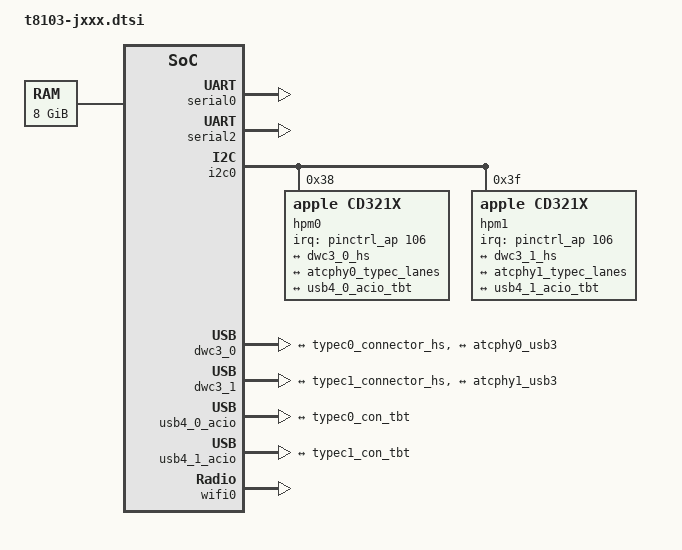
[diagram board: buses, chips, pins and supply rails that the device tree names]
// SPDX-License-Identifier: GPL-2.0+ OR MIT
/*
 * Apple M1 Mac mini, MacBook Air/Pro, iMac 24" (M1, 2020/2021)
 *
 * This file contains parts common to all Apple M1 devices using the t8103.
 *
 * target-type: J274, J293, J313, J456, J457
 *
 * Copyright The Asahi Linux Contributors
 */

/ {
	aliases {
		bluetooth0 = &bluetooth0;
		dcp = &dcp;
		disp0 = &display;
		disp0_piodma = &disp0_piodma;
		disp0-piodma = &disp0_piodma;
		serial0 = &serial0;
		serial2 = &serial2;
		wifi0 = &wifi0;
		atcphy0 = &atcphy0;
		atcphy1 = &atcphy1;
		usb4-0-acio = &usb4_0_acio;
		usb4-0-nhi = &usb4_0_nhi;
		usb4-1-acio = &usb4_1_acio;
		usb4-1-nhi = &usb4_1_nhi;

		usb4_0_rc = &usb4_0_acio;
		usb4_0_nhi = &usb4_0_nhi;
		usb4_1_rc = &usb4_1_acio;
		usb4_1_nhi = &usb4_1_nhi;
	};

	chosen {
		#address-cells = <2>;
		#size-cells = <2>;
		ranges;

		stdout-path = "serial0";

		framebuffer0: framebuffer@0 {
			compatible = "apple,simple-framebuffer", "simple-framebuffer";
			reg = <0 0 0 0>; /* To be filled by loader */
			power-domains = <&ps_disp0_cpu0>;
			/* Format properties will be added by loader */
			status = "disabled";
		};
	};

	reserved-memory {
		#address-cells = <2>;
		#size-cells = <2>;
		ranges;
		/* To be filled by loader */
	};

	memory@800000000 {
		device_type = "memory";
		reg = <0x8 0 0x2 0>; /* To be filled by loader */
	};
};

&serial0 {
	status = "okay";
};

&serial2 {
	status = "okay";
};

&i2c0 {
	hpm0: usb-pd@38 {
		compatible = "apple,cd321x";
		reg = <0x38>;
		interrupt-parent = <&pinctrl_ap>;
		interrupts = <106 IRQ_TYPE_LEVEL_LOW>;
		interrupt-names = "irq";

		typec0: connector {
			compatible = "usb-c-connector";
			power-role = "dual";
			data-role = "dual";

			ports {
				#address-cells = <1>;
				#size-cells = <0>;
				port@0 {
					reg = <0>;
					typec0_connector_hs: endpoint {
						remote-endpoint = <&dwc3_0_hs>;
					};
				};
				port@1 {
					reg = <1>;
					typec0_connector_ss: endpoint {
						remote-endpoint = <&atcphy0_typec_lanes>;
					};
				};

				port@2 {
					reg = <2>;
					typec0_con_tbt: endpoint {
						remote-endpoint = <&usb4_0_acio_tbt>;
					};
				};
			};
		};
	};

	hpm1: usb-pd@3f {
		compatible = "apple,cd321x";
		reg = <0x3f>;
		interrupt-parent = <&pinctrl_ap>;
		interrupts = <106 IRQ_TYPE_LEVEL_LOW>;
		interrupt-names = "irq";

		typec1: connector {
			compatible = "usb-c-connector";
			power-role = "dual";
			data-role = "dual";

			ports {
				#address-cells = <1>;
				#size-cells = <0>;
				port@0 {
					reg = <0>;
					typec1_connector_hs: endpoint {
						remote-endpoint = <&dwc3_1_hs>;
					};
				};
				port@1 {
					reg = <1>;
					typec1_connector_ss: endpoint {
						remote-endpoint = <&atcphy1_typec_lanes>;
					};
				};

				port@2 {
					reg = <2>;
					typec1_con_tbt: endpoint {
						remote-endpoint = <&usb4_1_acio_tbt>;
					};
				};
			};
		};
	};
};

/* USB controllers */
&dwc3_0 {
	ports {
		#address-cells = <1>;
		#size-cells = <0>;

		port@0 {
			reg = <0>;
			dwc3_0_hs: endpoint {
				remote-endpoint = <&typec0_connector_hs>;
			};
		};

		port@1 {
			reg = <1>;
			dwc3_0_ss: endpoint {
				remote-endpoint = <&atcphy0_usb3>;
			};
		};
	};
};

&dwc3_1 {
	ports {
		#address-cells = <1>;
		#size-cells = <0>;

		port@0 {
			reg = <0>;
			dwc3_1_hs: endpoint {
				remote-endpoint = <&typec1_connector_hs>;
			};
		};

		port@1 {
			reg = <1>;
			dwc3_1_ss: endpoint {
				remote-endpoint = <&atcphy1_usb3>;
			};
		};
	};
};

/* Type-C PHYs */
&atcphy0 {
	ports {
		#address-cells = <1>;
		#size-cells = <0>;

		port@0 {
			reg = <0>;
			atcphy0_typec_lanes: endpoint {
				remote-endpoint = <&typec0_connector_ss>;
			};
		};

		port@1 {
			reg = <1>;
			atcphy0_usb3: endpoint {
				remote-endpoint = <&dwc3_0_ss>;
			};
		};
	};
};

&atcphy1 {
	ports {
		#address-cells = <1>;
		#size-cells = <0>;

		port@0 {
			reg = <0>;
			atcphy1_typec_lanes: endpoint {
				remote-endpoint = <&typec1_connector_ss>;
			};
		};

		port@1 {
			reg = <1>;
			atcphy1_usb3: endpoint {
				remote-endpoint = <&dwc3_1_ss>;
			};
		};
	};
};

/* USB4 */
&usb4_0_acio {
	ports {
		#address-cells = <1>;
		#size-cells = <0>;

		/* 1: USB4 port */
		port@1 {
			reg = <1>;
			usb4_0_acio_tbt: endpoint {
				remote-endpoint = <&typec0_con_tbt>;
			};
		};

		/* 2: unused(?) USB4 port */
		/* 3: PCIe */
		/* 4: USB3 */
		/* 5: DP0 */
		/* 6: DP1 */
	};
};

&usb4_1_acio {
	ports {
		#address-cells = <1>;
		#size-cells = <0>;

		/* 1: USB4 port */
		port@1 {
			reg = <1>;
			usb4_1_acio_tbt: endpoint {
				remote-endpoint = <&typec1_con_tbt>;
			};
		};

		/* 2: unused(?) USB4 port */
		/* 3: PCIe */
		/* 4: USB3 */
		/* 5: DP0 */
		/* 6: DP1 */
	};
};

/*
 * Force the bus number assignments so that we can declare some of the
 * on-board devices and properties that are populated by the bootloader
 * (such as MAC addresses).
 */
&port00 {
	bus-range = <1 1>;
	pwren-gpios = <&smc_gpio 13 GPIO_ACTIVE_HIGH>;
	wifi0: wifi@0,0 {
		compatible = "pci14e4,4425";
		reg = <0x10000 0x0 0x0 0x0 0x0>;
		/* To be filled by the loader */
		local-mac-address = [00 00 00 00 00 00];
		apple,antenna-sku = "XX";
	};

	bluetooth0: bluetooth@0,1 {
		compatible = "pci14e4,5f69";
		reg = <0x10100 0x0 0x0 0x0 0x0>;
		/* To be filled by the loader */
		local-bd-address = [00 00 00 00 00 00];
	};
};

&nco_clkref {
	clock-frequency = <900000000>;
};

&pmgr {
	ps_ane_base: power-controller@c008 {
		compatible = "apple,t8103-pmgr-pwrstate", "apple,pmgr-pwrstate";
		reg = <0xc008 4>;
		#power-domain-cells = <0>;
		#reset-cells = <0>;
		label = "ane_base";
		power-domains = <&ps_ane_sys_cpu>;
	};

	ps_ane_set1: power-controller@c010 {
		compatible = "apple,t8103-pmgr-pwrstate", "apple,pmgr-pwrstate";
		reg = <0xc010 4>;
		#power-domain-cells = <0>;
		#reset-cells = <0>;
		label = "ane_set1";
		power-domains = <&ps_ane_base>;
	};

	ps_ane_set2: power-controller@c018 {
		compatible = "apple,t8103-pmgr-pwrstate", "apple,pmgr-pwrstate";
		reg = <0xc018 4>;
		#power-domain-cells = <0>;
		#reset-cells = <0>;
		label = "ane_set2";
		power-domains = <&ps_ane_base>;
	};

	ps_ane_set3: power-controller@c020 {
		compatible = "apple,t8103-pmgr-pwrstate", "apple,pmgr-pwrstate";
		reg = <0xc020 4>;
		#power-domain-cells = <0>;
		#reset-cells = <0>;
		label = "ane_set3";
		power-domains = <&ps_ane_base>;
	};

	ps_ane_set4: power-controller@c028 {
		compatible = "apple,t8103-pmgr-pwrstate", "apple,pmgr-pwrstate";
		reg = <0xc028 4>;
		#power-domain-cells = <0>;
		#reset-cells = <0>;
		label = "ane_set4";
		power-domains = <&ps_ane_base>;
	};

	ps_ane_set5: power-controller@c030 {
		compatible = "apple,t8103-pmgr-pwrstate", "apple,pmgr-pwrstate";
		reg = <0xc030 4>;
		#power-domain-cells = <0>;
		#reset-cells = <0>;
		label = "ane_set5";
		power-domains = <&ps_ane_base>;
	};
};

&{/soc} {
	ane_dart0: iommu@26b800000 {
		compatible = "apple,t8103-dart";
		reg = <0x2 0x6b800000 0x0 0x4000>;
		#iommu-cells = <1>;
		interrupt-parent = <&aic>;
		interrupts = <AIC_IRQ 417 IRQ_TYPE_LEVEL_HIGH>;
		power-domains = <&ps_ane_sys>;
	};

	ane_dart1: iommu@26b810000 {
		compatible = "apple,t8103-dart";
		reg = <0x2 0x6b810000 0x0 0x4000>;
		#iommu-cells = <1>;
		interrupt-parent = <&aic>;
		interrupts = <AIC_IRQ 417 IRQ_TYPE_LEVEL_HIGH>;
		power-domains = <&ps_ane_sys>;
	};

	ane_dart2: iommu@26b820000 {
		compatible = "apple,t8103-dart";
		reg = <0x2 0x6b820000 0x0 0x4000>;
		#iommu-cells = <1>;
		interrupt-parent = <&aic>;
		interrupts = <AIC_IRQ 417 IRQ_TYPE_LEVEL_HIGH>;
		power-domains = <&ps_ane_sys>;
	};

	ane: npu@26bc04000 {
		compatible = "apple,t8103-ane";
		reg = <0x2 0x6bc04000 0x0 0x24000>;
		interrupt-parent = <&aic>;
		interrupts = <AIC_IRQ 416 IRQ_TYPE_LEVEL_HIGH>;
		iommus = <&ane_dart0 0>, <&ane_dart1 0>, <&ane_dart2 0>;
		power-domains = <&ps_ane_set1>, <&ps_ane_set2>,
			<&ps_ane_set3>, <&ps_ane_set4>, <&ps_ane_set5>;
	};
};

#include "hwmon-common.dtsi"

#include "spi1-nvram.dtsi"
